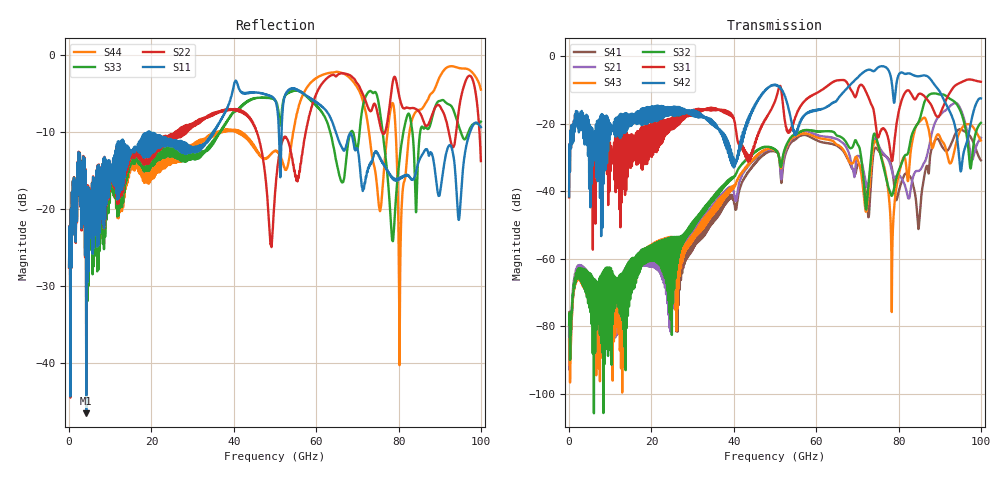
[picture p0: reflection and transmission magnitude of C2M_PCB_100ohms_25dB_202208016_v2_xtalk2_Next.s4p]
! Info: Touchstone file created by Circ.  Input file=Intel_C2M_200G_10p5in_202208016_staggered.circ
# Hz S RI R 50
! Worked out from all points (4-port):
!   10000 points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, 10 MHz to 100 GHz, reference 50 ohm
!   strongest paths, dB at 10 MHz, 25.01 GHz, 50.01 GHz, 75.01 GHz, 100 GHz:
!     S42: -41.6, -15.2, -8.7, -3.4, -12.6
!     S31: -41.8, -18.3, -13.4, -24.0, -7.7
!     S32: -79.4, -59.0, -27.7, -26.1, -19.8
!     S43: -83.8, -57.8, -27.8, -26.8, -25.0
!     S21: -80.4, -58.5, -27.9, -26.0, -24.2
!     S41: -82.8, -59.1, -28.1, -27.8, -30.9
!   lowest |S11| = -46.5 dB at 4.16 GHz (marker M1), VSWR 1.01, Z = 49.6 - j0.249 ohm
!   |S11| at or under -10 dB: start of sweep to 19.25 GHz; 19.56 GHz to 35.05 GHz (15.49 GHz wide, 56.7 % of centre); 64.74 GHz to 97.38 GHz (32.65 GHz wide, 40.3 % of centre)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
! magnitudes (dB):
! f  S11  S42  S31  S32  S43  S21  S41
! 10 MHz  -27.5  -41.6  -41.8  -79.4  -83.8  -80.4  -82.8
! 4.16 GHz  -46.5  -17.9  -19.7  -63.6  -66.1  -63.4  -65.4
! 56.42 GHz  -4.8  -19.0  -14.4  -22.3  -23.1  -22.4  -23.5
! 74.55 GHz  -12.7  -3.9  -21.4  -23.9  -25.5  -24.8  -27.2
! 78.41 GHz  -16.0  -8.3  -31.0  -41.3  -66.0  -34.0  -33.3
! 84.94 GHz  -13.8  -6.0  -11.2  -19.4  -19.7  -34.0  -50.4
! 100 GHz  -9.4  -12.6  -7.7  -19.8  -25.0  -24.2  -30.9
